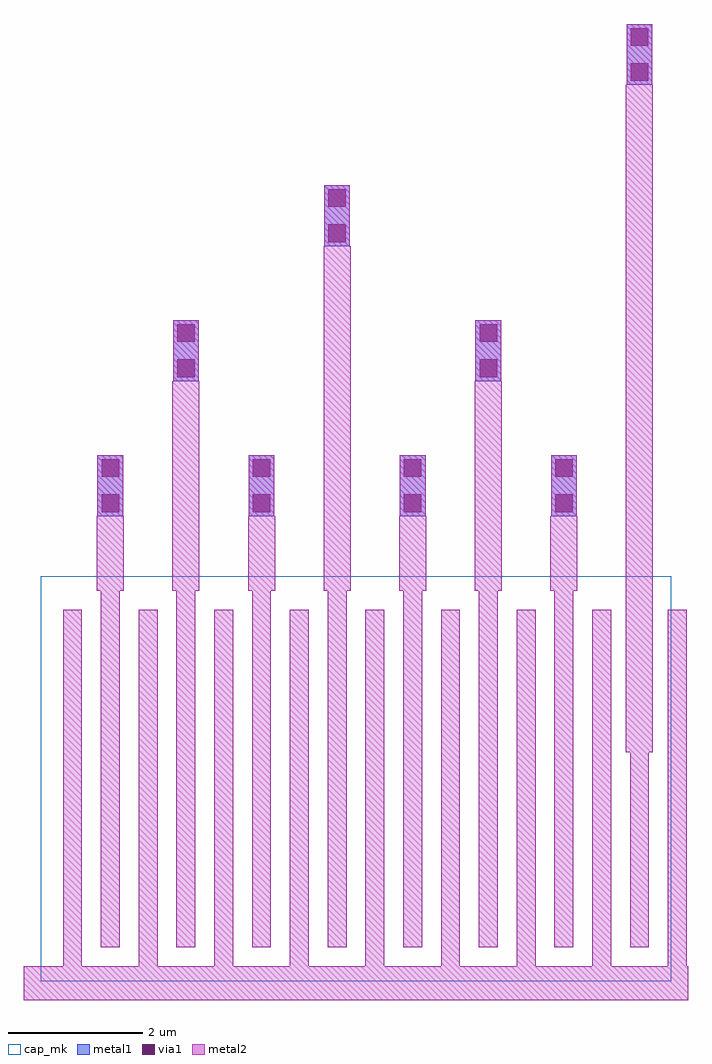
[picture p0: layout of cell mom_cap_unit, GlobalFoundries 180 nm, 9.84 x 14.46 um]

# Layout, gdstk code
import gdstk
lib = gdstk.Library(unit=1e-6, precision=1e-09)
def R(c, l, rs):  # rectangles x0, y0, x1, y1
    for r in rs: c.add(gdstk.rectangle(r[:2], r[2:], *l))
def A(c, l, x, y, w, h, nx, ny, dx, dy):  # array of equal rectangles
    R(c, l, [(x+i*dx, y+j*dy, x+i*dx+w, y+j*dy+h) for i in range(nx) for j in range(ny)])
metal1 = (34, 0)
via1 = (35, 0)
metal2 = (36, 0)
cap_mk = (117, 5)

mom_cap_unit = lib.new_cell('mom_cap_unit')
A(mom_cap_unit, metal1, 0.37, 3.89, 0.38, 0.9, 4, 1, 2.24, 0)
A(mom_cap_unit, metal1, 0.37, 3.89, 0.23, 0.87, 4, 1, 2.24, 0)
R(mom_cap_unit, metal1, [(1.49,5.89,1.87,6.79), (1.49,5.89,1.87,6.79), (1.49,5.89,1.72,6.76), (1.49,5.89,1.72,6.76), (5.97,5.89,6.35,6.79), (5.97,5.89,6.2,6.76), (3.73,7.89,4.11,8.79), (3.73,7.89,3.96,8.76), (8.21,10.28,8.59,11.18), (8.21,10.28,8.44,11.15)])
A(mom_cap_unit, via1, 0.43, 3.95, 0.26, 0.26, 4, 2, 2.24, 0.52)
R(mom_cap_unit, via1, [(1.55,5.95,1.81,6.21), (1.55,5.95,1.81,6.21), (6.03,5.95,6.29,6.21), (1.55,6.47,1.81,6.73), (1.55,6.47,1.81,6.73), (6.03,6.47,6.29,6.73), (3.79,7.95,4.05,8.21), (3.79,8.47,4.05,8.73), (8.27,10.34,8.53,10.6), (8.27,10.86,8.53,11.12)])
A(mom_cap_unit, metal2, -0.72, -3.28, 2, 0.5, 8, 1, 1.12, 0)
A(mom_cap_unit, metal2, -0.14, -2.78, 0.28, 5.28, 9, 1, 1.12, 0)
A(mom_cap_unit, metal2, 0.42, -2.5, 0.28, 5.28, 8, 1, 1.12, 0)
A(mom_cap_unit, metal2, 0.36, 2.78, 0.4, 1.11, 4, 1, 2.24, 0)
A(mom_cap_unit, metal2, 0.37, 3.89, 0.38, 0.9, 4, 1, 2.24, 0)
R(mom_cap_unit, metal2, [(8.2,0.39,8.6,10.28), (1.48,2.78,1.88,5.89), (3.72,2.78,4.12,7.89), (5.96,2.78,6.36,5.89), (1.49,5.89,1.87,6.79), (1.49,5.89,1.87,6.79), (5.97,5.89,6.35,6.79), (3.73,7.89,4.11,8.79), (8.21,10.28,8.59,11.18)])
A(mom_cap_unit, cap_mk, -0.47, -3, 1.5, 6, 8, 1, 1.12, 0)

lib.write_gds('mom_cap_unit.gds')
